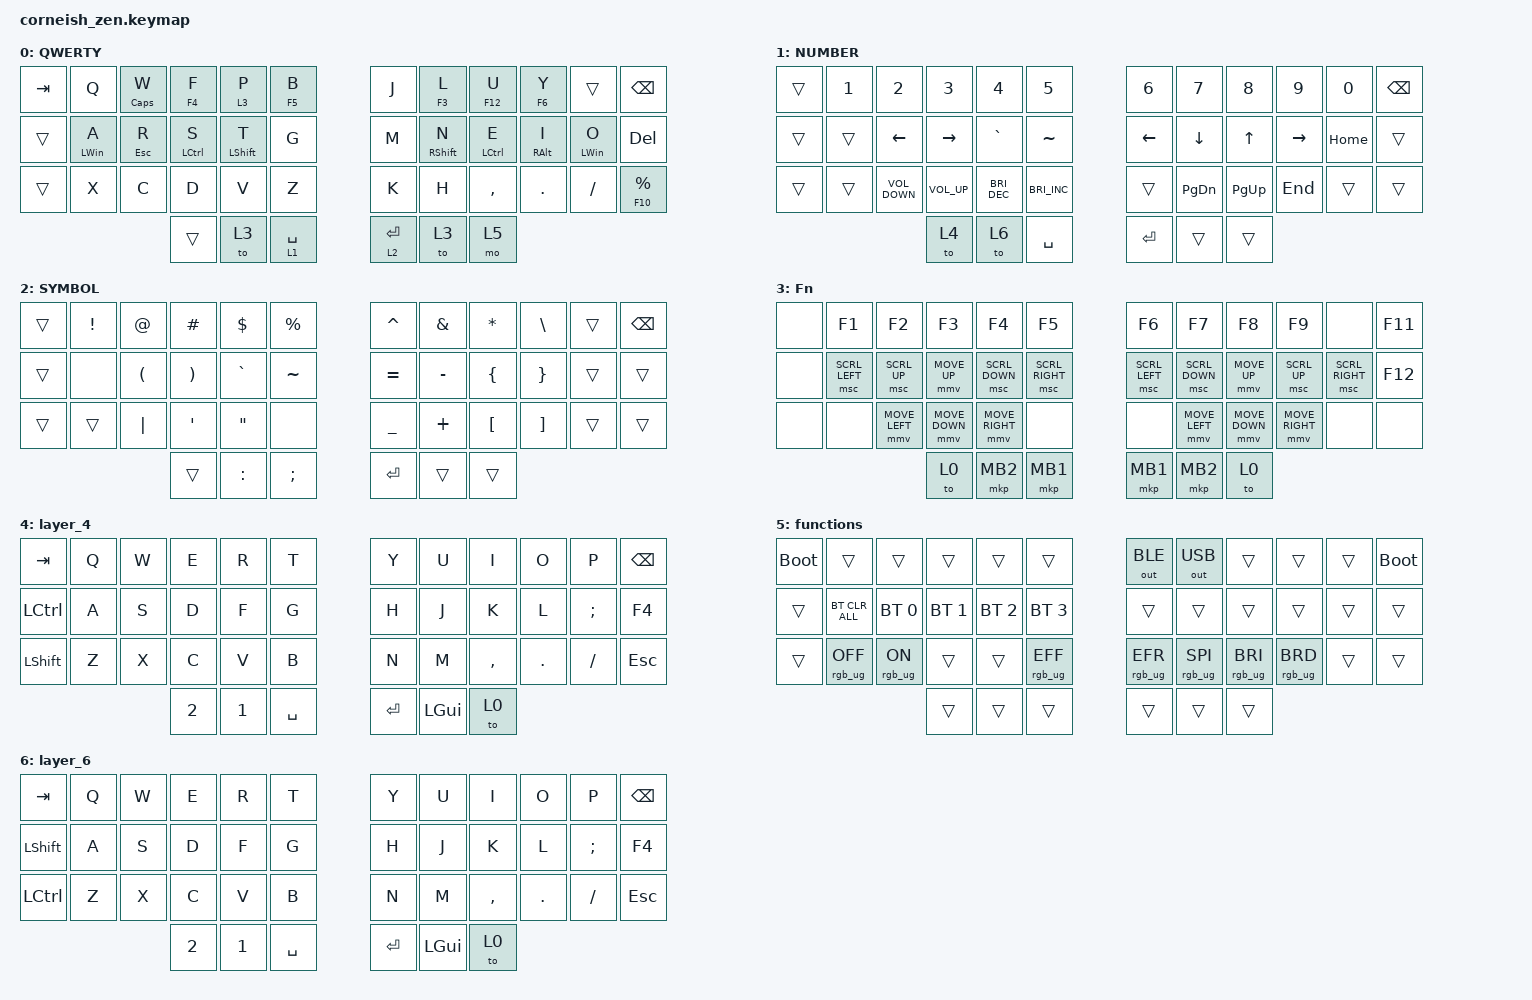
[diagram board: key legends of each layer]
/*
 * Copyright (c) 2020 The ZMK Contributors
 *
 * SPDX-License-Identifier: MIT
 */

#include <behaviors.dtsi>
#include <dt-bindings/zmk/bt.h>
#include <dt-bindings/zmk/keys.h>
#include <dt-bindings/zmk/outputs.h>
#include <dt-bindings/zmk/pointing.h>
#include <dt-bindings/zmk/rgb.h>

/ {
    chosen {
        zmk,matrix_transform = &default_transform;

        // zmk,matrix_transform = &five_column_transform;
    };
};

/ {
    behaviors {
        td0: td0 {
            compatible = "zmk,behavior-tap-dance";
            label = "TD0";
            #binding-cells = <0>;
            bindings = <&kp LEFT_SHIFT>, <&kp CAPS>;
        };
    };

    keymap {
        compatible = "zmk,keymap";

        default_layer {
            display-name = "QWERTY";

            // --------------------------------------------------------------------------------
            // |  TAB |  Q  |  W  |  E  |  R  |  T  |   |  Y  |  U   |  I  |  O  |  P  | BKSP |
            // | CTRL |  A  |  S  |  D  |  F  |  G  |   |  H  |  J   |  K  |  L  |  ;  |  '   | 
            // | SHFT |  Z  |  X  |  C  |  V  |  B  |   |  N  |  M   |  ,  |  .  |  /  | ESC  |
            //                    | GUI | LWR | SPC |   | ENT | RSE  | ALT |

            bindings = <
&kp TAB  &kp Q           &mt CAPSLOCK W  &mt F4 F     &lt 3 P           &mt F5 B       &kp J        &mt F3 L           &mt F12 U    &mt F6 Y         &trans          &kp BSPC
&trans   &mt LEFT_WIN A  &mt ESCAPE R    &mt LCTRL S  &mt LEFT_SHIFT T  &kp G          &kp M        &mt RIGHT_SHIFT N  &mt LCTRL E  &mt RIGHT_ALT I  &mt LEFT_WIN O  &kp DELETE
&trans   &kp X           &kp C           &kp D        &kp V             &kp Z          &kp K        &kp H              &kp COMMA    &kp DOT          &kp SLASH       &mt F10 PERCENT
                                         &trans       &to 3             &lt 1 SPACE    &lt 2 ENTER  &to 3              &mo 5
            >;
        };

        lower_layer {
            display-name = "NUMBER";

            // -----------------------------------------------------------------------------------------
            // |  TAB |  1  |  2  |  3  |  4  |  5  |   |  6  |  7  |  8  |  9  |  0  | BKSP |
            // | BTCLR| BT1 | BT2 | BT3 | BT4 | BT5 |   | LFT | DWN |  UP | RGT |     |      |
            // | SHFT |     |     |     |     |     |   |     |     |     |     |     |      |
            //                    | GUI |     | SPC |   | ENT |     | ALT |

            bindings = <
&trans  &kp N1  &kp N2             &kp N3           &kp N4                &kp N5                  &kp N6     &kp N7         &kp N8       &kp N9     &kp N0    &kp BSPC
&trans  &trans  &kp LEFT_ARROW     &kp RIGHT_ARROW  &kp GRAVE             &kp TILDE               &kp LEFT   &kp DOWN       &kp UP       &kp RIGHT  &kp HOME  &trans
&trans  &trans  &kp C_VOLUME_DOWN  &kp C_VOLUME_UP  &kp C_BRIGHTNESS_DEC  &kp C_BRIGHTNESS_INC    &trans     &kp PAGE_DOWN  &kp PAGE_UP  &kp END    &trans    &trans
                                   &to 4            &to 6                 &kp SPACE               &kp ENTER  &trans         &trans
            >;
        };

        raise_layer {
            display-name = "SYMBOL";

            // -----------------------------------------------------------------------------------------
            // |  TAB |  !  |  @  |  #  |  $  |  %  |   |  ^  |  &  |  *  |  (  |  )  | BKSP |
            // | CTRL |     |     |     |     |     |   |  -  |  =  |  [  |  ]  |  \  |  `   |
            // | SHFT |     |     |     |     |     |   |  _  |  +  |  {  |  }  | "|" |  ~   |
            //                    | GUI |     | SPC |   | ENT |     | ALT |

            bindings = <
&trans  &kp EXCL  &kp AT                &kp HASH               &kp DLLR           &kp PRCNT        &kp CARET  &kp AMPS   &kp ASTRK         &kp BACKSLASH      &trans  &kp BSPC
&trans  &none     &kp LEFT_PARENTHESIS  &kp RIGHT_PARENTHESIS  &kp GRAVE          &kp TILDE        &kp EQUAL  &kp MINUS  &kp LEFT_BRACE    &kp RIGHT_BRACE    &trans  &trans
&trans  &trans    &kp PIPE              &kp SQT                &kp DOUBLE_QUOTES  &none            &kp UNDER  &kp PLUS   &kp LEFT_BRACKET  &kp RIGHT_BRACKET  &trans  &trans
                                        &trans                 &kp COLON          &kp SEMICOLON    &kp RET    &trans     &trans
            >;
        };

        layer_3 {
            display-name = "Fn";
            bindings = <
&none  &kp F1          &kp F2          &kp F3          &kp F4           &kp F5             &kp F6          &kp F7          &kp F8          &kp F9           &none            &kp F11
&none  &msc SCRL_LEFT  &msc SCRL_UP    &mmv MOVE_UP    &msc SCRL_DOWN   &msc SCRL_RIGHT    &msc SCRL_LEFT  &msc SCRL_DOWN  &mmv MOVE_UP    &msc SCRL_UP     &msc SCRL_RIGHT  &kp F12
&none  &none           &mmv MOVE_LEFT  &mmv MOVE_DOWN  &mmv MOVE_RIGHT  &none              &none           &mmv MOVE_LEFT  &mmv MOVE_DOWN  &mmv MOVE_RIGHT  &none            &none
                                       &to 0           &mkp MB2         &mkp MB1           &mkp MB1        &mkp MB2        &to 0
            >;
        };

        layer_4 {
            bindings = <
&kp TAB         &kp Q  &kp W  &kp E   &kp R   &kp T        &kp Y      &kp U     &kp I      &kp O    &kp P     &kp BSPC
&kp LCTRL       &kp A  &kp S  &kp D   &kp F   &kp G        &kp H      &kp J     &kp K      &kp L    &kp SEMI  &kp F4
&kp LEFT_SHIFT  &kp Z  &kp X  &kp C   &kp V   &kp B        &kp N      &kp M     &kp COMMA  &kp DOT  &kp FSLH  &kp ESCAPE
                              &kp N2  &kp N1  &kp SPACE    &kp ENTER  &kp LGUI  &to 0
            >;
        };

        layer_5 {
            display-name = "functions";
            bindings = <
&bootloader  &trans           &trans          &trans        &trans        &trans             &out OUT_BLE     &out OUT_USB     &trans           &trans           &trans  &bootloader
&trans       &bt BT_CLR_ALL   &bt BT_SEL 0    &bt BT_SEL 1  &bt BT_SEL 2  &bt BT_SEL 3       &trans           &trans           &trans           &trans           &trans  &trans
&trans       &rgb_ug RGB_OFF  &rgb_ug RGB_ON  &trans        &trans        &rgb_ug RGB_EFF    &rgb_ug RGB_EFR  &rgb_ug RGB_SPI  &rgb_ug RGB_BRI  &rgb_ug RGB_BRD  &trans  &trans
                                              &trans        &trans        &trans             &trans           &trans           &trans
            >;
        };

        layer_6 {
            bindings = <
&kp TAB         &kp Q  &kp W  &kp E   &kp R   &kp T        &kp Y      &kp U     &kp I      &kp O    &kp P     &kp BSPC
&kp LEFT_SHIFT  &kp A  &kp S  &kp D   &kp F   &kp G        &kp H      &kp J     &kp K      &kp L    &kp SEMI  &kp F4
&kp LCTRL       &kp Z  &kp X  &kp C   &kp V   &kp B        &kp N      &kp M     &kp COMMA  &kp DOT  &kp FSLH  &kp ESCAPE
                              &kp N2  &kp N1  &kp SPACE    &kp ENTER  &kp LGUI  &to 0
            >;
        };
    };
};
